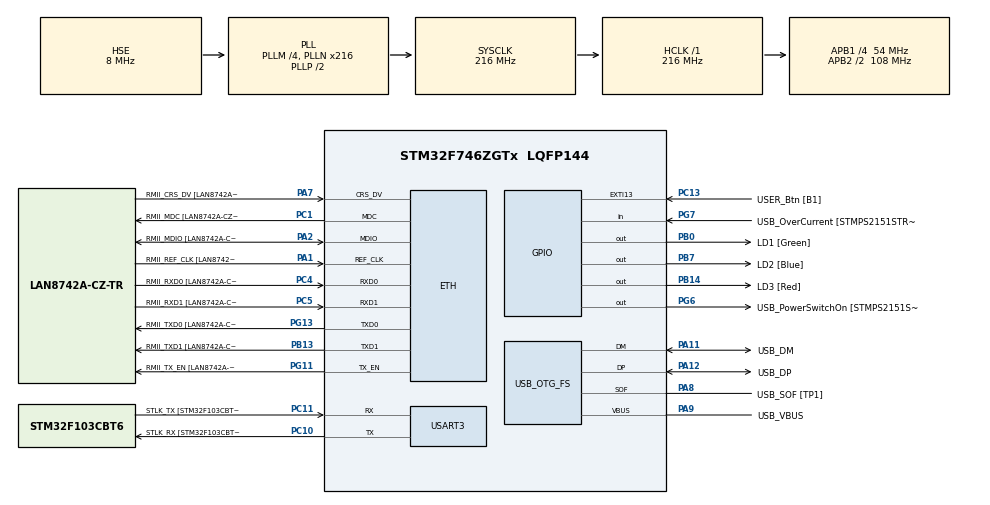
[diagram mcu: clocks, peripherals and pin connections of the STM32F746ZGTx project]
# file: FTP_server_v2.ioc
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ETH.MediaInterface=ETH_MEDIA_INTERFACE_RMII
ETH.PHY_Name=LAN8742A_PHY_ADDRESS
ETH.PHY_Value=0
ETH.PhyAddress=0
FATFS._MAX_LFN=32
FATFS._STRF_ENCODE=0
FATFS._USE_LFN=2
FREERTOS.Tasks01=defaultTask,0,1024,StartDefaultTask,Default,NULL,Dynamic,NULL,NULL
FREERTOS.configTOTAL_HEAP_SIZE=32768
LWIP.Version=v2.0.3_Cube
Mcu.Family=STM32F7
Mcu.Name=STM32F746ZGTx
Mcu.Package=LQFP144
NVIC.ETH_IRQn=true\:5\:0\:false\:false\:true\:true\:false
NVIC.EXTI15_10_IRQn=true\:5\:0\:false\:false\:true\:true\:true
NVIC.OTG_FS_IRQn=true\:5\:0\:false\:false\:true\:true\:false
NVIC.PriorityGroup=NVIC_PRIORITYGROUP_4
NVIC.TIM1_UP_TIM10_IRQn=true\:5\:0\:false\:false\:true\:true\:true
NVIC.TIM6_DAC_IRQn=true\:0\:0\:false\:false\:true\:false\:false
NVIC.TimeBase=TIM6_DAC_IRQn
NVIC.TimeBaseIP=TIM6
NVIC.USART3_IRQn=true\:5\:0\:false\:false\:true\:true\:true
PA1.GPIO_Label=RMII_REF_CLK [LAN8742A-CZ-TR_REFCLK0]
PA1.Mode=RMII
PA1.Signal=ETH_REF_CLK
PA10.GPIO_Label=USB_ID
PA10.Signal=USB_OTG_FS_ID
PA11.GPIO_Label=USB_DM
PA11.Mode=Host_Only
PA11.Signal=USB_OTG_FS_DM
PA12.GPIO_Label=USB_DP
PA12.Mode=Host_Only
PA12.Signal=USB_OTG_FS_DP
PA13.GPIO_Label=TMS
PA13.Mode=Serial_Wire
PA13.Signal=SYS_JTMS-SWDIO
PA14.GPIO_Label=TCK
PA14.Mode=Serial_Wire
PA14.Signal=SYS_JTCK-SWCLK
PA2.GPIO_Label=RMII_MDIO [LAN8742A-CZ-TR_MDIO]
PA2.Mode=RMII
PA2.Signal=ETH_MDIO
PA7.GPIO_Label=RMII_CRS_DV [LAN8742A-CZ-TR_CRS_DV]
PA7.Mode=RMII
PA7.Signal=ETH_CRS_DV
PA8.GPIO_Label=USB_SOF [TP1]
PA8.Mode=Activate_SOF_FS
PA8.Signal=USB_OTG_FS_SOF
PA9.GPIO_Label=USB_VBUS
PA9.Mode=Activate_VBUS
PA9.Signal=USB_OTG_FS_VBUS
PB0.GPIO_Label=LD1 [Green]
PB0.Signal=GPIO_Output
PB13.GPIO_Label=RMII_TXD1 [LAN8742A-CZ-TR_TXD1]
PB13.Mode=RMII
PB13.Signal=ETH_TXD1
PB14.GPIO_Label=LD3 [Red]
PB14.Signal=GPIO_Output
PB3.GPIO_Label=SW0
PB3.Signal=SYS_JTDO-SWO
PB7.GPIO_Label=LD2 [Blue]
PB7.Signal=GPIO_Output
PC1.GPIO_Label=RMII_MDC [LAN8742A-CZ-TR_MDC]
PC1.Mode=RMII
PC1.Signal=ETH_MDC
PC10.GPIO_Label=STLK_RX [STM32F103CBT6_PA3]
PC10.Mode=Asynchronous
PC10.Signal=USART3_TX
PC11.GPIO_Label=STLK_TX [STM32F103CBT6_PA2]
PC11.Mode=Asynchronous
PC11.Signal=USART3_RX
PC13.GPIO_Label=USER_Btn [B1]
PC13.Signal=GPXTI13
PC14/OSC32_IN.Mode=LSE-External-Oscillator
PC14/OSC32_IN.Signal=RCC_OSC32_IN
PC15/OSC32_OUT.Mode=LSE-External-Oscillator
PC15/OSC32_OUT.Signal=RCC_OSC32_OUT
PC4.GPIO_Label=RMII_RXD0 [LAN8742A-CZ-TR_RXD0]
PC4.Mode=RMII
PC4.Signal=ETH_RXD0
PC5.GPIO_Label=RMII_RXD1 [LAN8742A-CZ-TR_RXD1]
PC5.Mode=RMII
PC5.Signal=ETH_RXD1
PG11.GPIO_Label=RMII_TX_EN [LAN8742A-CZ-TR_TXEN]
PG11.Mode=RMII
PG11.Signal=ETH_TX_EN
PG13.GPIO_Label=RMII_TXD0 [LAN8742A-CZ-TR_TXD0]
PG13.Mode=RMII
PG13.Signal=ETH_TXD0
PG6.GPIO_Label=USB_PowerSwitchOn [STMPS2151STR_EN]
PG6.Signal=GPIO_Output
PG7.GPIO_Label=USB_OverCurrent [STMPS2151STR_FAULT]
PG7.Signal=GPIO_Input
PH0/OSC_IN.GPIO_Label=MCO [STM32F103CBT6_PA8]
PH0/OSC_IN.Mode=HSE-External-Clock-Source
PH0/OSC_IN.Signal=RCC_OSC_IN
PH1/OSC_OUT.Mode=HSE-External-Clock-Source
PH1/OSC_OUT.Signal=RCC_OSC_OUT
ProjectManager.HeapSize=0x200
ProjectManager.StackSize=0x400
ProjectManager.TargetToolchain=STM32CubeIDE
RCC.48MHZClocksFreq_Value=24000000
RCC.AHBFreq_Value=216000000
RCC.APB1CLKDivider=RCC_HCLK_DIV4
RCC.APB1Freq_Value=54000000
RCC.APB1TimFreq_Value=108000000
RCC.APB2CLKDivider=RCC_HCLK_DIV2
RCC.APB2Freq_Value=108000000
RCC.APB2TimFreq_Value=216000000
RCC.CortexFreq_Value=216000000
RCC.HCLKFreq_Value=216000000
RCC.HSE_VALUE=8000000
RCC.HSI_VALUE=16000000
RCC.PLLM=4
RCC.PLLMUL=RCC_PLL_MUL9
RCC.PLLN=216
RCC.PLLQ=9
RCC.PRESCALERUSB=RCC_USBCLKSOURCE_PLL_DIV1_5
RCC.SYSCLKFreq_VALUE=216000000
RCC.SYSCLKSource=RCC_SYSCLKSOURCE_PLLCLK
RCC.SYSCLKSourceVirtual=RCC_SYSCLKSOURCE_PLLCLK
RCC.USBFreq_Value=48000000
RCC.VCOOutputFreq_Value=432000000
TIM10.Period=9999
TIM10.Prescaler=21599
USART3.VirtualMode-Asynchronous=VM_ASYNC
USB_HOST.BSP.number=1
USB_HOST.USBH_DEBUG_LEVEL-MSC_FS=3
USB_HOST.USBH_HandleTypeDef-MSC_FS=hUsbHostFS
USB_HOST.VirtualModeFS=Msc
USB_HOST0.BSP.STBoard=false
USB_HOST0.BSP.api=Unknown
USB_HOST0.BSP.i2caddr=0
USB_HOST0.BSP.instance=PG6
USB_HOST0.BSP.ip=GPIO
USB_HOST0.BSP.mode=Output
USB_HOST0.BSP.name=Drive_VBUS_FS
USB_HOST0.BSP.solution=PG6
USB_OTG_FS.VirtualMode=Host_Only
USB_OTG_FS.phy_itface=HCD_PHY_EMBEDDED
VP_FATFS_VS_USB.Mode=USB
VP_FREERTOS_VS_ENABLE.Mode=Enabled
VP_LWIP_VS_Enabled.Mode=Enabled
VP_SYS_VS_tim6.Mode=TIM6
VP_TIM10_VS_ClockSourceINT.Mode=Enable_Timer
VP_USB_HOST_VS_USB_HOST_MSC_FS.Mode=MSC_FS
board=NUCLEO-F746ZG

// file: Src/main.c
/**
  ******************************************************************************
  * @file           : main.c
  * @brief          : Main program body
  ******************************************************************************
  * This notice applies to any and all portions of this file
  * that are not between comment pairs USER CODE BEGIN and
  * USER CODE END. Other portions of this file, whether
  * inserted by the user or by software development tools
  * are owned by their respective copyright owners.
  *
  * Copyright (c) 2020 STMicroelectronics International N.V.
  * All rights reserved.
  *
  * Redistribution and use in source and binary forms, with or without
  * modification, are permitted, provided that the following conditions are met:
  *
  * 1. Redistribution of source code must retain the above copyright notice,
  *    this list of conditions and the following disclaimer.
  * 2. Redistributions in binary form must reproduce the above copyright notice,
  *    this list of conditions and the following disclaimer in the documentation
  *    and/or other materials provided with the distribution.
  * 3. Neither the name of STMicroelectronics nor the names of other
  *    contributors to this software may be used to endorse or promote products
  *    derived from this software without specific written permission.
  * 4. This software, including modifications and/or derivative works of this
  *    software, must execute solely and exclusively on microcontroller or
  *    microprocessor devices manufactured by or for STMicroelectronics.
  * 5. Redistribution and use of this software other than as permitted under
  *    this license is void and will automatically terminate your rights under
  *    this license.
  *
  * THIS SOFTWARE IS PROVIDED BY STMICROELECTRONICS AND CONTRIBUTORS "AS IS"
  * AND ANY EXPRESS, IMPLIED OR STATUTORY WARRANTIES, INCLUDING, BUT NOT
  * LIMITED TO, THE IMPLIED WARRANTIES OF MERCHANTABILITY, FITNESS FOR A
  * PARTICULAR PURPOSE AND NON-INFRINGEMENT OF THIRD PARTY INTELLECTUAL PROPERTY
  * RIGHTS ARE DISCLAIMED TO THE FULLEST EXTENT PERMITTED BY LAW. IN NO EVENT
  * SHALL STMICROELECTRONICS OR CONTRIBUTORS BE LIABLE FOR ANY DIRECT, INDIRECT,
  * INCIDENTAL, SPECIAL, EXEMPLARY, OR CONSEQUENTIAL DAMAGES (INCLUDING, BUT NOT
  * LIMITED TO, PROCUREMENT OF SUBSTITUTE GOODS OR SERVICES; LOSS OF USE, DATA,
  * OR PROFITS; OR BUSINESS INTERRUPTION) HOWEVER CAUSED AND ON ANY THEORY OF
  * LIABILITY, WHETHER IN CONTRACT, STRICT LIABILITY, OR TORT (INCLUDING
  * NEGLIGENCE OR OTHERWISE) ARISING IN ANY WAY OUT OF THE USE OF THIS SOFTWARE,
  * EVEN IF ADVISED OF THE POSSIBILITY OF SUCH DAMAGE.
  *
  ******************************************************************************
  */
#include "main.h"
#include "stm32f7xx_hal.h"
#include "cmsis_os.h"
#include "fatfs.h"
#include "lwip.h"
#include "usb_host.h"

/* USER CODE BEGIN Includes */

#include "lwip/api.h"
#include "usbh_platform.h"

#include "ftp_server.h"
#include "semphr.h"
#include "usb_stick_services.h"

/* USER CODE END Includes */

TIM_HandleTypeDef htim10;

UART_HandleTypeDef huart3;

osThreadId defaultTaskHandle;

/* USER CODE BEGIN PV */
/* Private variables ---------------------------------------------------------*/

extern ApplicationTypeDef Appli_state;
char* logdata;
uint8_t Received;

uint32_t last_tick;
SemaphoreHandle_t sem_EXTI;
SemaphoreHandle_t mutex_FS;

/* USER CODE END PV */

void SystemClock_Config(void);
static void MX_GPIO_Init(void);
static void MX_USART3_UART_Init(void);
static void MX_TIM10_Init(void);
void StartDefaultTask(void const * argument);

/* USER CODE BEGIN PFP */
/* Private function prototypes -----------------------------------------------*/
void HAL_TIM_PeriodElapsedCallback(TIM_HandleTypeDef *htim);
void HAL_GPIO_EXTI_Callback(uint16_t GPIO_Pin);
void HAL_UART_RxCpltCallback(UART_HandleTypeDef *huart);

/* USER CODE END PFP */

/* USER CODE BEGIN 0 */

extern struct netif gnetif;

//FATFS USBDISKFatFs;           /* File system object for USB disk logical drive */
//FIL MyFile;                   /* File object */
//char USBDISKPath[4];          /* USB Host logical drive path */
//USBH_HandleTypeDef hUSB_Host; /* USB Host handle */

/* USER CODE END 0 */

int main(void)
{
  /* USER CODE BEGIN 1 */

  logdata = (char*)malloc(50 * sizeof(char));
  last_tick = HAL_GetTick();

  /* USER CODE END 1 */

  /* MCU Configuration----------------------------------------------------------*/

  /* Reset of all peripherals, Initializes the Flash interface and the Systick. */
  HAL_Init();

  /* Configure the system clock */
  SystemClock_Config();

  /* Initialize all configured peripherals */
  MX_GPIO_Init();
  MX_USART3_UART_Init();
  MX_TIM10_Init();
  /* USER CODE BEGIN 2 */

  HAL_GPIO_WritePin(LD1_GPIO_Port, LD1_Pin, GPIO_PIN_RESET);
  HAL_GPIO_WritePin(LD2_GPIO_Port, LD2_Pin, GPIO_PIN_RESET);
  HAL_GPIO_WritePin(LD3_GPIO_Port, LD3_Pin, GPIO_PIN_RESET);

//  HAL_UART_Receive_IT(&huart3, &Received, 1);
  //HAL_TIM_Base_Start_IT(&htim10);

  /* USER CODE END 2 */

  /* USER CODE BEGIN RTOS_MUTEX */
  /* add mutexes, ... */

  mutex_FS = xSemaphoreCreateMutex();
  while(mutex_FS == NULL){
	  HAL_Delay(1000);
	  HAL_GPIO_TogglePin(LD3_GPIO_Port, LD3_Pin);
  }
  /* USER CODE END RTOS_MUTEX */

  /* USER CODE BEGIN RTOS_SEMAPHORES */
  /* add semaphores, ... */
  sem_EXTI = xSemaphoreCreateBinary();
  while(sem_EXTI == NULL){
	  HAL_Delay(1000);
	  HAL_GPIO_TogglePin(LD3_GPIO_Port, LD3_Pin);
  }
  /* USER CODE END RTOS_SEMAPHORES */

  /* Create the thread(s) */
  /* definition and creation of defaultTask */
  osThreadDef(defaultTask, StartDefaultTask, osPriorityNormal, 0, 1024);
  defaultTaskHandle = osThreadCreate(osThread(defaultTask), NULL);

  /* Start scheduler */
  osKernelStart();

  /* We should never get here as control is now taken by the scheduler */

  /* Infinite loop */
  /* USER CODE BEGIN WHILE */
  while (1)
  {
	  HAL_Delay(1000);
	  HAL_GPIO_TogglePin(LD3_GPIO_Port, LD3_Pin);
	  uint8_t data[50];
	  static uint8_t cnt = 0;

  /* USER CODE END WHILE */

  }

}

void SystemClock_Config(void)
{

  RCC_OscInitTypeDef RCC_OscInitStruct;
  RCC_ClkInitTypeDef RCC_ClkInitStruct;
  RCC_PeriphCLKInitTypeDef PeriphClkInitStruct;

    /**Configure the main internal regulator output voltage
    */
  __HAL_RCC_PWR_CLK_ENABLE();

  __HAL_PWR_VOLTAGESCALING_CONFIG(PWR_REGULATOR_VOLTAGE_SCALE1);

    /**Initializes the CPU, AHB and APB busses clocks
    */
  RCC_OscInitStruct.OscillatorType = RCC_OSCILLATORTYPE_HSE;
  RCC_OscInitStruct.HSEState = RCC_HSE_BYPASS;
  RCC_OscInitStruct.PLL.PLLState = RCC_PLL_ON;
  RCC_OscInitStruct.PLL.PLLSource = RCC_PLLSOURCE_HSE;
  RCC_OscInitStruct.PLL.PLLM = 4;
  RCC_OscInitStruct.PLL.PLLN = 216;
  RCC_OscInitStruct.PLL.PLLP = RCC_PLLP_DIV2;
  RCC_OscInitStruct.PLL.PLLQ = 9;
  if (HAL_RCC_OscConfig(&RCC_OscInitStruct) != HAL_OK)
  {
    _Error_Handler(__FILE__, __LINE__);
  }

    /**Activate the Over-Drive mode
    */
  if (HAL_PWREx_EnableOverDrive() != HAL_OK)
  {
    _Error_Handler(__FILE__, __LINE__);
  }

    /**Initializes the CPU, AHB and APB busses clocks
    */
  RCC_ClkInitStruct.ClockType = RCC_CLOCKTYPE_HCLK|RCC_CLOCKTYPE_SYSCLK
                              |RCC_CLOCKTYPE_PCLK1|RCC_CLOCKTYPE_PCLK2;
  RCC_ClkInitStruct.SYSCLKSource = RCC_SYSCLKSOURCE_PLLCLK;
  RCC_ClkInitStruct.AHBCLKDivider = RCC_SYSCLK_DIV1;
  RCC_ClkInitStruct.APB1CLKDivider = RCC_HCLK_DIV4;
  RCC_ClkInitStruct.APB2CLKDivider = RCC_HCLK_DIV2;

  if (HAL_RCC_ClockConfig(&RCC_ClkInitStruct, FLASH_LATENCY_7) != HAL_OK)
  {
    _Error_Handler(__FILE__, __LINE__);
  }

  PeriphClkInitStruct.PeriphClockSelection = RCC_PERIPHCLK_USART3|RCC_PERIPHCLK_CLK48;
  PeriphClkInitStruct.Usart3ClockSelection = RCC_USART3CLKSOURCE_PCLK1;
  PeriphClkInitStruct.Clk48ClockSelection = RCC_CLK48SOURCE_PLL;
  if (HAL_RCCEx_PeriphCLKConfig(&PeriphClkInitStruct) != HAL_OK)
  {
    _Error_Handler(__FILE__, __LINE__);
  }

    /**Configure the Systick interrupt time
    */
  HAL_SYSTICK_Config(HAL_RCC_GetHCLKFreq()/1000);

    /**Configure the Systick
    */
  HAL_SYSTICK_CLKSourceConfig(SYSTICK_CLKSOURCE_HCLK);

  /* SysTick_IRQn interrupt configuration */
  HAL_NVIC_SetPriority(SysTick_IRQn, 15, 0);
}

/* TIM10 init function */
static void MX_TIM10_Init(void)
{

  htim10.Instance = TIM10;
  htim10.Init.Prescaler = 21599;
  htim10.Init.CounterMode = TIM_COUNTERMODE_UP;
  htim10.Init.Period = 9999;
  htim10.Init.ClockDivision = TIM_CLOCKDIVISION_DIV1;
  htim10.Init.AutoReloadPreload = TIM_AUTORELOAD_PRELOAD_DISABLE;
  if (HAL_TIM_Base_Init(&htim10) != HAL_OK)
  {
    _Error_Handler(__FILE__, __LINE__);
  }

}

/* USART3 init function */
static void MX_USART3_UART_Init(void)
{

  huart3.Instance = USART3;
  huart3.Init.BaudRate = 115200;
  huart3.Init.WordLength = UART_WORDLENGTH_8B;
  huart3.Init.StopBits = UART_STOPBITS_1;
  huart3.Init.Parity = UART_PARITY_NONE;
  huart3.Init.Mode = UART_MODE_TX_RX;
  huart3.Init.HwFlowCtl = UART_HWCONTROL_NONE;
  huart3.Init.OverSampling = UART_OVERSAMPLING_16;
  huart3.Init.OneBitSampling = UART_ONE_BIT_SAMPLE_DISABLE;
  huart3.AdvancedInit.AdvFeatureInit = UART_ADVFEATURE_NO_INIT;
  if (HAL_UART_Init(&huart3) != HAL_OK)
  {
    _Error_Handler(__FILE__, __LINE__);
  }

}

/** Configure pins as
        * Analog
        * Input
        * Output
        * EVENT_OUT
        * EXTI
*/
static void MX_GPIO_Init(void)
{

  GPIO_InitTypeDef GPIO_InitStruct;

  /* GPIO Ports Clock Enable */
  __HAL_RCC_GPIOC_CLK_ENABLE();
  __HAL_RCC_GPIOH_CLK_ENABLE();
  __HAL_RCC_GPIOA_CLK_ENABLE();
  __HAL_RCC_GPIOB_CLK_ENABLE();
  __HAL_RCC_GPIOG_CLK_ENABLE();

  /*Configure GPIO pin Output Level */
  HAL_GPIO_WritePin(GPIOB, LD1_Pin|LD3_Pin|LD2_Pin, GPIO_PIN_RESET);

  /*Configure GPIO pin Output Level */
  HAL_GPIO_WritePin(USB_PowerSwitchOn_GPIO_Port, USB_PowerSwitchOn_Pin, GPIO_PIN_RESET);

  /*Configure GPIO pin : USER_Btn_Pin */
  GPIO_InitStruct.Pin = USER_Btn_Pin;
  GPIO_InitStruct.Mode = GPIO_MODE_IT_RISING;
  GPIO_InitStruct.Pull = GPIO_NOPULL;
  HAL_GPIO_Init(USER_Btn_GPIO_Port, &GPIO_InitStruct);

  /*Configure GPIO pins : LD1_Pin LD3_Pin LD2_Pin */
  GPIO_InitStruct.Pin = LD1_Pin|LD3_Pin|LD2_Pin;
  GPIO_InitStruct.Mode = GPIO_MODE_OUTPUT_PP;
  GPIO_InitStruct.Pull = GPIO_NOPULL;
  GPIO_InitStruct.Speed = GPIO_SPEED_FREQ_LOW;
  HAL_GPIO_Init(GPIOB, &GPIO_InitStruct);

  /*Configure GPIO pin : USB_PowerSwitchOn_Pin */
  GPIO_InitStruct.Pin = USB_PowerSwitchOn_Pin;
  GPIO_InitStruct.Mode = GPIO_MODE_OUTPUT_PP;
  GPIO_InitStruct.Pull = GPIO_NOPULL;
  GPIO_InitStruct.Speed = GPIO_SPEED_FREQ_LOW;
  HAL_GPIO_Init(USB_PowerSwitchOn_GPIO_Port, &GPIO_InitStruct);

  /*Configure GPIO pin : USB_OverCurrent_Pin */
  GPIO_InitStruct.Pin = USB_OverCurrent_Pin;
  GPIO_InitStruct.Mode = GPIO_MODE_INPUT;
  GPIO_InitStruct.Pull = GPIO_NOPULL;
  HAL_GPIO_Init(USB_OverCurrent_GPIO_Port, &GPIO_InitStruct);

  /* EXTI interrupt init*/
  HAL_NVIC_SetPriority(EXTI15_10_IRQn, 5, 0);
  HAL_NVIC_EnableIRQ(EXTI15_10_IRQn);

}

/* USER CODE BEGIN 4 */

void HAL_GPIO_EXTI_Callback(uint16_t GPIO_Pin){
	uint32_t cur_tick = HAL_GetTick();
	if(cur_tick - last_tick > 250){
		last_tick = cur_tick;
		if(GPIO_Pin == GPIO_PIN_13){
			BaseType_t semaphoreStatus, pxHigherPriorityTaskWoken;
			semaphoreStatus = xSemaphoreGiveFromISR(sem_EXTI, &pxHigherPriorityTaskWoken);
		}
	}

}

/* USER CODE END 4 */

/* StartDefaultTask function */
void StartDefaultTask(void const * argument)
{
  /* init code for USB_HOST */
  MX_USB_HOST_Init();

  /* init code for FATFS */
  MX_FATFS_Init();

  /* init code for LWIP */
  MX_LWIP_Init();

  /* USER CODE BEGIN 5 */

  /* USB stick init section */

  init_usb_stick_services(&huart3, mutex_FS);
  init_ftp_server(mutex_FS);

  MX_DriverVbusFS(0); //wlacza zasilanie urzadzenia USB

  do{
	  HAL_GPIO_TogglePin(LD1_GPIO_Port, LD1_Pin);
	  vTaskDelay(100);
  }while(Appli_state != APPLICATION_READY);

  FATFS *fs;     /* Ponter to the filesystem object */
  fs = malloc(sizeof (FATFS));           /* Get work area for the volume */
  FRESULT res = f_mount(fs, "", 0);                    /* Mount the default drive */

  HAL_GPIO_WritePin(LD1_GPIO_Port, LD1_Pin, GPIO_PIN_RESET);

  /* DHCP and FTP init section */
  struct dhcp *dhcp = netif_dhcp_data(&gnetif);
  do
  {
	  HAL_GPIO_TogglePin(LD2_GPIO_Port, LD2_Pin);
	  vTaskDelay(250);
  }while(dhcp->state != 0x0A);
  vTaskDelay(200);
  HAL_GPIO_WritePin(LD2_GPIO_Port, LD2_Pin, GPIO_PIN_RESET);

  osThreadDef(ftp_thread, ftp_server_netconn_thread, osPriorityNormal, 1, 4096);
  ftp_init_arguments ftp_args;
  ftp_args.huart = &huart3;
  ftp_args.fs = fs;
  osThreadId ftp_thread = osThreadCreate(osThread(ftp_thread), &ftp_args);

  while (ftp_thread == NULL) {
	  HAL_GPIO_TogglePin(LD3_GPIO_Port, LD3_Pin);
	  vTaskDelay(100);
  }

  /* Infinite loop */
  for(;;)
  {
	  if(xSemaphoreTake(sem_EXTI, portMAX_DELAY) == pdPASS){
		  FIL fp;
		  FRESULT fr;
		  UBaseType_t written_size;
		  UBaseType_t number_of_files = 0;
		  get_number_of_files_in_dir("/", &number_of_files);

		  sprintf(logdata, "IP address: %s, files in the main directory: %d\n\r", ipaddr_ntoa(&(gnetif.ip_addr)), number_of_files);
		  if(xSemaphoreTake(mutex_FS, portMAX_DELAY) == pdPASS){
			  fr = f_open(&fp, "info.txt", FA_OPEN_APPEND | FA_WRITE);
			  if(fr == FR_OK){
				  f_write(&fp, logdata, strlen(logdata), &written_size);
			  }
			  f_close(&fp);
			  xSemaphoreGive(mutex_FS);
		  }
	  }
  }
  /* USER CODE END 5 */
}

void HAL_TIM_PeriodElapsedCallback(TIM_HandleTypeDef *htim)
{
  if (htim->Instance == TIM6) {
    HAL_IncTick();
  }
}

void _Error_Handler(char *file, int line)
{
  while(1)
  {
  }
}

/************************ (C) COPYRIGHT STMicroelectronics *****END OF FILE****/
